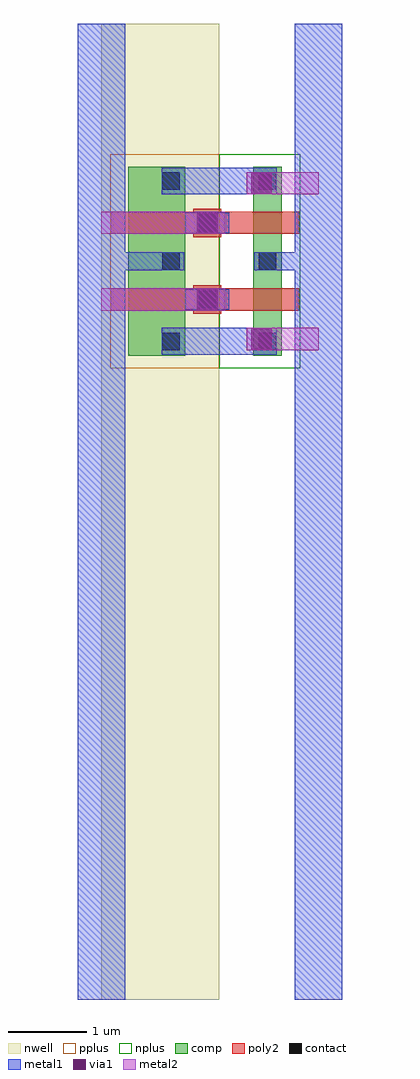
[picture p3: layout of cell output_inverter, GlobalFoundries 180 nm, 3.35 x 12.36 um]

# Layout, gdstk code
import gdstk
lib = gdstk.Library(unit=1e-6, precision=5e-09)
def R(c, l, rs):  # rectangles x0, y0, x1, y1
    for r in rs: c.add(gdstk.rectangle(r[:2], r[2:], *l))
def A(c, l, x, y, w, h, nx, ny, dx, dy):  # array of equal rectangles
    R(c, l, [(x+i*dx, y+j*dy, x+i*dx+w, y+j*dy+h) for i in range(nx) for j in range(ny)])
nwell = (21, 0)
comp = (22, 0)
poly2 = (30, 0)
pplus = (31, 0)
nplus = (32, 0)
contact = (33, 0)
metal1 = (34, 0)
via1 = (35, 0)
metal2 = (36, 0)

output_inverter = lib.new_cell('output_inverter')
R(output_inverter, nwell, [(-15.745,-0.61,-14.25,11.75)])
R(output_inverter, comp, [(-15.405,7.545,-14.685,9.935), (-13.82,7.545,-13.46,9.935)])
R(output_inverter, poly2, [(-14.585,8.075,-14.225,8.435), (-15.625,8.115,-13.24,8.395), (-14.585,9.045,-14.225,9.405), (-15.625,9.085,-13.24,9.365)])
R(output_inverter, pplus, [(-15.635,7.385,-14.25,10.095)])
R(output_inverter, nplus, [(-14.25,7.385,-13.23,10.095)])
A(output_inverter, contact, -14.975, 7.615, 0.22, 0.22, 1, 3, 0, 1.015)
A(output_inverter, contact, -13.75, 7.615, 0.22, 0.22, 1, 3, 0, 1.015)
R(output_inverter, contact, [(-14.515,8.145,-14.295,8.365), (-14.515,9.115,-14.295,9.335)])
R(output_inverter, metal1, [(-16.045,-0.61,-15.445,11.75), (-13.295,-0.61,-12.695,11.75), (-14.98,7.555,-13.525,7.895), (-14.685,8.125,-14.125,8.385), (-15.445,8.625,-14.695,8.855), (-13.81,8.625,-13.295,8.855), (-14.685,9.095,-14.125,9.355), (-14.98,9.585,-13.525,9.925)])
R(output_inverter, via1, [(-13.845,7.625,-13.585,7.885), (-14.535,8.125,-14.275,8.385), (-14.535,9.095,-14.275,9.355), (-13.845,9.595,-13.585,9.855)])
R(output_inverter, metal2, [(-13.905,7.615,-12.995,7.895), (-15.745,8.115,-14.175,8.395), (-15.745,9.085,-14.175,9.365), (-13.905,9.585,-12.995,9.865)])

lib.write_gds('output_inverter.gds')
